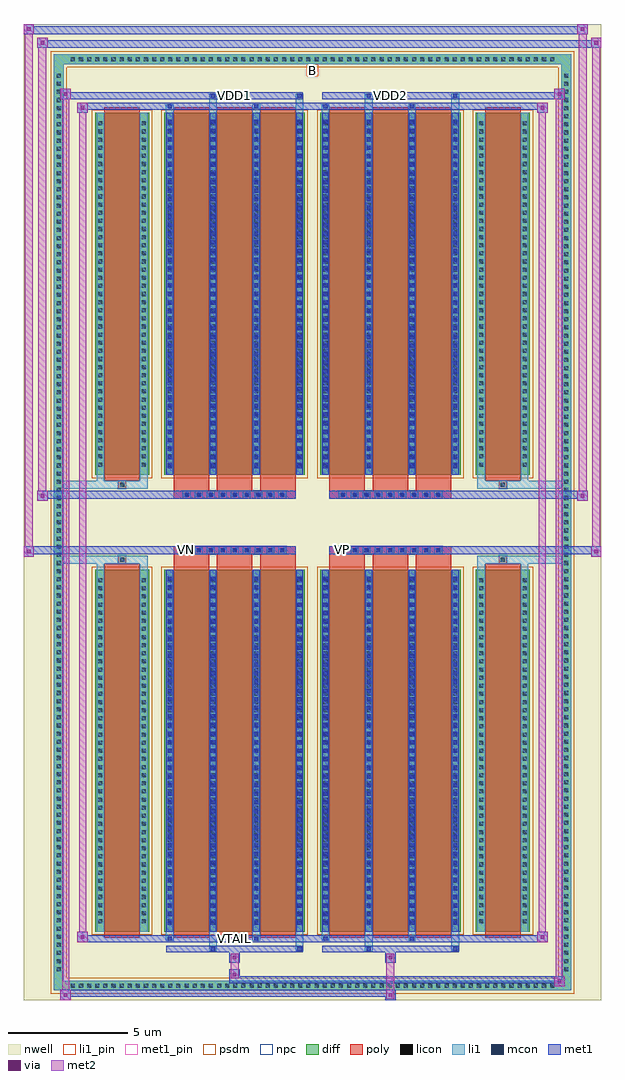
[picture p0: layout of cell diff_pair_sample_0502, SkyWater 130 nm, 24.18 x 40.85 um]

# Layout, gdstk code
import gdstk
lib = gdstk.Library(unit=1e-6, precision=5e-09)
def R(c, l, rs):  # rectangles x0, y0, x1, y1
    for r in rs: c.add(gdstk.rectangle(r[:2], r[2:], *l))
def A(c, l, x, y, w, h, nx, ny, dx, dy):  # array of equal rectangles
    R(c, l, [(x+i*dx, y+j*dy, x+i*dx+w, y+j*dy+h) for i in range(nx) for j in range(ny)])
def P(c, l, *ps):  # polygons
    for p in ps: c.add(gdstk.Polygon(p, *l))
nwell = (64, 20)
diff = (65, 20)
poly = (66, 20)
licon = (66, 44)
li1_pin = (67, 16)
li1 = (67, 20)
mcon = (67, 44)
met1_pin = (68, 16)
met1 = (68, 20)
via = (68, 44)
met2 = (69, 20)
psdm = (94, 20)
npc = (95, 20)

diff_pair_sample_0502 = lib.new_cell('diff_pair_sample_0502')
R(diff_pair_sample_0502, nwell, [(-12.09,-19.99,12.09,20.86), (-9.41,-18.18,-0.01,-0.8), (0.01,-18.18,9.41,-0.8), (-9.41,0.8,-0.01,18.18), (0.01,0.8,9.41,18.18)])
A(diff_pair_sample_0502, diff, -10.235, -19.59, 0.41, 0.41, 60, 2, 0.34, 38.77)
A(diff_pair_sample_0502, diff, -10.82, -18.905, 0.41, 0.41, 1, 111, 0, 0.34)
A(diff_pair_sample_0502, diff, 10.41, -18.905, 0.41, 0.41, 1, 111, 0, 0.34)
R(diff_pair_sample_0502, diff, [(-10.235,-19.59,10.235,-19.18), (-10.82,-18.905,-10.41,18.905), (10.41,-18.905,10.82,18.905), (-9.1,-17.135,-6.84,-1.985), (-6.2,-17.135,-0.32,-1.985), (0.32,-17.135,6.2,-1.985), (6.84,-17.135,9.1,-1.985), (-9.1,1.985,-6.84,17.135), (-6.2,1.985,-0.32,17.135), (0.32,1.985,6.2,17.135), (6.84,1.985,9.1,17.135), (-10.235,19.18,10.235,19.59)])
P(diff_pair_sample_0502, diff, [(10.82,19.59),(-10.82,19.59),(-10.82,-19.18),(-10.41,-19.18),(-10.41,19.18),(10.41,19.18),(10.41,-19.18),(-10.41,-19.18),(-10.82,-19.18),(-10.82,-19.59),(10.82,-19.59)])
A(diff_pair_sample_0502, poly, -5.81, -17.385, 1.48, 15.65, 3, 2, 1.81, 19.12)
A(diff_pair_sample_0502, poly, 0.71, -17.385, 1.48, 15.65, 3, 2, 1.81, 19.12)
A(diff_pair_sample_0502, poly, -5.81, -1.735, 1.48, 0.405, 3, 2, 1.81, 3.065)
A(diff_pair_sample_0502, poly, 0.71, -1.735, 1.48, 0.405, 3, 2, 1.81, 3.065)
A(diff_pair_sample_0502, poly, -5.425, -1.33, 0.33, 0.33, 9, 2, 0.5, 2.33)
A(diff_pair_sample_0502, poly, 1.095, -1.33, 0.33, 0.33, 9, 2, 0.5, 2.33)
R(diff_pair_sample_0502, poly, [(-8.71,-17.385,-7.23,-1.735), (7.23,-17.385,8.71,-1.735), (-8.135,-1.735,-7.805,-1.405), (-8.135,-1.735,-7.805,-1.405), (7.805,-1.735,8.135,-1.405), (7.805,-1.735,8.135,-1.405), (-5.81,-1.33,-0.71,-1), (0.71,-1.33,5.81,-1), (-5.81,1,-0.71,1.33), (0.71,1,5.81,1.33), (-8.135,1.405,-7.805,1.735), (-8.135,1.405,-7.805,1.735), (7.805,1.405,8.135,1.735), (7.805,1.405,8.135,1.735), (-8.71,1.735,-7.23,17.385), (7.23,1.735,8.71,17.385)])
A(diff_pair_sample_0502, licon, -10.115, -19.47, 0.17, 0.17, 60, 2, 0.34, 38.77)
A(diff_pair_sample_0502, licon, -10.7, -18.785, 0.17, 0.17, 1, 111, 0, 0.34)
A(diff_pair_sample_0502, licon, 10.53, -18.785, 0.17, 0.17, 1, 111, 0, 0.34)
A(diff_pair_sample_0502, licon, -8.96, -16.785, 0.17, 0.17, 1, 43, 0, 0.34)
A(diff_pair_sample_0502, licon, -7.15, -16.785, 0.17, 0.17, 1, 43, 0, 0.34)
A(diff_pair_sample_0502, licon, -6.06, -16.785, 0.17, 0.17, 4, 43, 1.81, 0.34)
A(diff_pair_sample_0502, licon, 0.46, -16.785, 0.17, 0.17, 4, 43, 1.81, 0.34)
A(diff_pair_sample_0502, licon, 6.98, -16.785, 0.17, 0.17, 1, 43, 0, 0.34)
A(diff_pair_sample_0502, licon, 8.79, -16.785, 0.17, 0.17, 1, 43, 0, 0.34)
A(diff_pair_sample_0502, licon, -5.345, -1.25, 0.17, 0.17, 9, 2, 0.5, 2.33)
A(diff_pair_sample_0502, licon, 1.175, -1.25, 0.17, 0.17, 9, 2, 0.5, 2.33)
A(diff_pair_sample_0502, licon, -8.96, 2.335, 0.17, 0.17, 1, 43, 0, 0.34)
A(diff_pair_sample_0502, licon, -7.15, 2.335, 0.17, 0.17, 1, 43, 0, 0.34)
A(diff_pair_sample_0502, licon, -6.06, 2.335, 0.17, 0.17, 4, 43, 1.81, 0.34)
A(diff_pair_sample_0502, licon, 0.46, 2.335, 0.17, 0.17, 4, 43, 1.81, 0.34)
A(diff_pair_sample_0502, licon, 6.98, 2.335, 0.17, 0.17, 1, 43, 0, 0.34)
A(diff_pair_sample_0502, licon, 8.79, 2.335, 0.17, 0.17, 1, 43, 0, 0.34)
R(diff_pair_sample_0502, licon, [(-8.055,-1.655,-7.885,-1.485), (7.885,-1.655,8.055,-1.485), (-8.055,1.485,-7.885,1.655), (7.885,1.485,8.055,1.655)])
R(diff_pair_sample_0502, li1_pin, [(-0.25,18.68,0.25,19.18)])
A(diff_pair_sample_0502, li1, -10.195, -19.55, 0.33, 0.33, 60, 2, 0.34, 38.77)
A(diff_pair_sample_0502, li1, -10.78, -18.865, 0.33, 0.33, 1, 111, 0, 0.34)
A(diff_pair_sample_0502, li1, 10.45, -18.865, 0.33, 0.33, 1, 111, 0, 0.34)
A(diff_pair_sample_0502, li1, -6.14, -17.135, 0.33, 15.15, 4, 2, 1.81, 19.12)
A(diff_pair_sample_0502, li1, 0.38, -17.135, 0.33, 15.15, 4, 2, 1.81, 19.12)
A(diff_pair_sample_0502, li1, -9.04, -16.865, 0.33, 0.33, 1, 43, 0, 0.34)
A(diff_pair_sample_0502, li1, -7.23, -16.865, 0.33, 0.33, 1, 43, 0, 0.34)
A(diff_pair_sample_0502, li1, -6.14, -16.865, 0.33, 0.33, 4, 43, 1.81, 0.34)
A(diff_pair_sample_0502, li1, 0.38, -16.865, 0.33, 0.33, 4, 43, 1.81, 0.34)
A(diff_pair_sample_0502, li1, 6.9, -16.865, 0.33, 0.33, 1, 43, 0, 0.34)
A(diff_pair_sample_0502, li1, 8.71, -16.865, 0.33, 0.33, 1, 43, 0, 0.34)
A(diff_pair_sample_0502, li1, -6.06, -16.845, 0.17, 0.17, 4, 41, 1.81, 0.36)
A(diff_pair_sample_0502, li1, -6.06, -16.845, 0.17, 14.57, 4, 2, 1.81, 19.12)
A(diff_pair_sample_0502, li1, 0.46, -16.845, 0.17, 0.17, 4, 41, 1.81, 0.36)
A(diff_pair_sample_0502, li1, 0.46, -16.845, 0.17, 14.57, 4, 2, 1.81, 19.12)
A(diff_pair_sample_0502, li1, -5.425, -1.33, 0.33, 0.33, 9, 2, 0.5, 2.33)
A(diff_pair_sample_0502, li1, 1.095, -1.33, 0.33, 0.33, 9, 2, 0.5, 2.33)
A(diff_pair_sample_0502, li1, -9.04, 2.255, 0.33, 0.33, 1, 43, 0, 0.34)
A(diff_pair_sample_0502, li1, -7.23, 2.255, 0.33, 0.33, 1, 43, 0, 0.34)
A(diff_pair_sample_0502, li1, -6.14, 2.255, 0.33, 0.33, 4, 43, 1.81, 0.34)
A(diff_pair_sample_0502, li1, 0.38, 2.255, 0.33, 0.33, 4, 43, 1.81, 0.34)
A(diff_pair_sample_0502, li1, 6.9, 2.255, 0.33, 0.33, 1, 43, 0, 0.34)
A(diff_pair_sample_0502, li1, 8.71, 2.255, 0.33, 0.33, 1, 43, 0, 0.34)
A(diff_pair_sample_0502, li1, -6.06, 2.275, 0.17, 0.17, 4, 41, 1.81, 0.36)
A(diff_pair_sample_0502, li1, 0.46, 2.275, 0.17, 0.17, 4, 41, 1.81, 0.36)
R(diff_pair_sample_0502, li1, [(-10.82,-19.59,-10.41,-19.18), (-10.82,-19.59,-10.41,-19.18), (-10.41,-19.59,10.41,-19.18), (10.41,-19.59,10.82,-19.18), (10.41,-19.59,10.82,-19.18), (-10.82,-19.18,-10.41,19.18), (10.41,-19.18,10.82,19.18), (-4.33,-17.94,-4,-17.135), (-4.25,-17.94,-4.08,-17.77), (-0.71,-17.94,-0.38,-17.135), (-0.63,-17.94,-0.46,-17.77), (2.19,-17.94,2.52,-17.135), (2.27,-17.94,2.44,-17.77), (5.81,-17.94,6.14,-17.135), (5.89,-17.94,6.06,-17.77), (-6.14,-17.51,-5.81,-17.135), (-6.06,-17.51,-5.89,-17.34), (-2.52,-17.51,-2.19,-17.135), (-2.44,-17.51,-2.27,-17.34), (0.38,-17.51,0.71,-17.135), (0.46,-17.51,0.63,-17.34), (4,-17.51,4.33,-17.135), (4.08,-17.51,4.25,-17.34), (-9.04,-17.135,-8.71,-1.985), (-7.23,-17.135,-6.9,-1.985), (6.9,-17.135,7.23,-1.985), (8.71,-17.135,9.04,-1.985), (-9.04,-1.985,-8.71,-1.405), (-7.23,-1.985,-6.9,-1.405), (6.9,-1.985,7.23,-1.405), (8.71,-1.985,9.04,-1.405), (-10.82,-1.735,-8.135,-1.405), (-9.04,-1.735,-8.135,-1.405), (-8.135,-1.735,-7.805,-1.405), (-7.805,-1.735,-6.9,-1.405), (6.9,-1.735,7.805,-1.405), (7.805,-1.735,8.135,-1.405), (7.805,-1.735,10.82,-1.405), (8.135,-1.735,9.04,-1.405), (-10.82,1.405,-8.135,1.735), (-9.04,1.405,-8.135,1.735), (-9.04,1.405,-8.71,1.985), (-8.135,1.405,-7.805,1.735), (-7.805,1.405,-6.9,1.735), (-7.23,1.405,-6.9,1.985), (6.9,1.405,7.805,1.735), (6.9,1.405,7.23,1.985), (7.805,1.405,8.135,1.735), (7.805,1.405,10.82,1.735), (8.135,1.405,9.04,1.735), (8.71,1.405,9.04,1.985), (-9.04,1.985,-8.71,17.135), (-7.23,1.985,-6.9,17.135), (6.9,1.985,7.23,17.135), (8.71,1.985,9.04,17.135), (-6.14,17.135,-5.81,17.51), (-4.33,17.135,-4,17.94), (-2.52,17.135,-2.19,17.51), (-0.71,17.135,-0.38,17.94), (0.38,17.135,0.71,17.51), (2.19,17.135,2.52,17.94), (4,17.135,4.33,17.51), (5.81,17.135,6.14,17.94), (-6.06,17.34,-5.89,17.51), (-2.44,17.34,-2.27,17.51), (0.46,17.34,0.63,17.51), (4.08,17.34,4.25,17.51), (-4.25,17.77,-4.08,17.94), (-0.63,17.77,-0.46,17.94), (2.27,17.77,2.44,17.94), (5.89,17.77,6.06,17.94), (-10.82,19.18,-10.41,19.59), (-10.82,19.18,-10.41,19.59), (-10.41,19.18,10.41,19.59), (10.41,19.18,10.82,19.59), (10.41,19.18,10.82,19.59)])
A(diff_pair_sample_0502, mcon, -6.06, -16.845, 0.17, 0.17, 4, 41, 1.81, 0.36)
A(diff_pair_sample_0502, mcon, 0.46, -16.845, 0.17, 0.17, 4, 41, 1.81, 0.36)
A(diff_pair_sample_0502, mcon, -5.345, -1.25, 0.17, 0.17, 9, 2, 0.5, 2.33)
A(diff_pair_sample_0502, mcon, 1.175, -1.25, 0.17, 0.17, 9, 2, 0.5, 2.33)
A(diff_pair_sample_0502, mcon, -6.06, 2.275, 0.17, 0.17, 4, 41, 1.81, 0.36)
A(diff_pair_sample_0502, mcon, 0.46, 2.275, 0.17, 0.17, 4, 41, 1.81, 0.36)
R(diff_pair_sample_0502, mcon, [(-4.25,-17.94,-4.08,-17.77), (-0.63,-17.94,-0.46,-17.77), (2.27,-17.94,2.44,-17.77), (5.89,-17.94,6.06,-17.77), (-6.06,-17.51,-5.89,-17.34), (-2.44,-17.51,-2.27,-17.34), (0.46,-17.51,0.63,-17.34), (4.08,-17.51,4.25,-17.34), (-6.06,17.34,-5.89,17.51), (-2.44,17.34,-2.27,17.51), (0.46,17.34,0.63,17.51), (4.08,17.34,4.25,17.51), (-4.25,17.77,-4.08,17.94), (-0.63,17.77,-0.46,17.94), (2.27,17.77,2.44,17.94), (5.89,17.77,6.06,17.94)])
R(diff_pair_sample_0502, met1_pin, [(-3.395,-17.55,-3.125,-17.28), (-5.395,-1.29,-5.125,-1.02), (1.125,-1.29,1.395,-1.02), (-3.395,17.73,-3.125,18), (3.125,17.73,3.395,18)])
A(diff_pair_sample_0502, met1, -6.12, -17.135, 0.29, 15.15, 4, 2, 1.81, 19.12)
A(diff_pair_sample_0502, met1, 0.4, -17.135, 0.29, 15.15, 4, 2, 1.81, 19.12)
A(diff_pair_sample_0502, met1, -6.12, -16.905, 0.29, 0.29, 4, 41, 1.81, 0.36)
A(diff_pair_sample_0502, met1, 0.4, -16.905, 0.29, 0.29, 4, 41, 1.81, 0.36)
A(diff_pair_sample_0502, met1, -5.405, -1.31, 0.29, 0.29, 9, 2, 0.5, 2.33)
A(diff_pair_sample_0502, met1, 1.115, -1.31, 0.29, 0.29, 9, 2, 0.5, 2.33)
A(diff_pair_sample_0502, met1, -6.12, 2.215, 0.29, 0.29, 4, 41, 1.81, 0.36)
A(diff_pair_sample_0502, met1, 0.4, 2.215, 0.29, 0.29, 4, 41, 1.81, 0.36)
R(diff_pair_sample_0502, met1, [(-10.55,-19.99,-10.12,-19.56), (3.045,-19.99,3.475,-19.56), (-10.55,-19.85,3.475,-19.56), (10.12,-19.42,10.55,-18.99), (-3.475,-19.28,10.55,-18.99), (-3.475,-19.14,-3.045,-18.71), (-3.475,-18.43,-3.045,-18), (3.045,-18.43,3.475,-18), (-6.12,-18,-0.4,-17.71), (-4.31,-18,-4.02,-17.71), (-0.69,-18,-0.4,-17.71), (0.4,-18,6.12,-17.71), (2.21,-18,2.5,-17.71), (5.83,-18,6.12,-17.71), (-9.84,-17.57,-9.41,-17.14), (-9.84,-17.57,-6.12,-17.28), (-6.12,-17.57,-5.83,-17.28), (-6.12,-17.57,-0.4,-17.28), (-2.5,-17.57,-2.21,-17.28), (-0.4,-17.57,0.4,-17.28), (0.4,-17.57,0.69,-17.28), (0.4,-17.57,6.12,-17.28), (4.02,-17.57,4.31,-17.28), (6.12,-17.57,9.84,-17.28), (9.41,-17.57,9.84,-17.14), (-12.09,-1.43,-11.66,-1), (11.66,-1.43,12.09,-1), (-12.09,-1.33,-0.71,-1), (-5.81,-1.33,-0.71,-1), (0.71,-1.33,5.81,-1), (0.71,-1.33,12.09,-1), (-11.52,0.9,-11.09,1.33), (11.09,0.9,11.52,1.33), (-11.52,1,-5.81,1.33), (-5.81,1,-0.71,1.33), (0.71,1,5.81,1.33), (5.81,1,11.52,1.33), (-9.84,17.14,-9.41,17.57), (9.41,17.14,9.84,17.57), (-9.84,17.28,-6.12,17.57), (-6.12,17.28,-5.83,17.57), (-6.12,17.28,-0.4,17.57), (-2.5,17.28,-2.21,17.57), (-0.4,17.28,0.4,17.57), (0.4,17.28,0.69,17.57), (0.4,17.28,6.12,17.57), (4.02,17.28,4.31,17.57), (6.12,17.28,9.84,17.57), (-10.55,17.71,-10.12,18.14), (-10.55,17.71,-6.12,18), (-6.12,17.71,-0.4,18), (-4.31,17.71,-4.02,18), (-0.69,17.71,-0.4,18), (0.4,17.71,6.12,18), (2.21,17.71,2.5,18), (5.83,17.71,6.12,18), (6.12,17.71,10.55,18), (10.12,17.71,10.55,18.14), (-11.52,19.86,-11.09,20.29), (-11.52,19.86,-9.41,20.19), (-9.41,19.86,9.41,20.19), (9.41,19.86,12.09,20.19), (11.66,19.86,12.09,20.29), (-12.09,20.43,-11.66,20.86), (-12.09,20.43,-9.41,20.76), (-9.41,20.43,9.41,20.76), (9.41,20.43,11.52,20.76), (11.09,20.43,11.52,20.86)])
R(diff_pair_sample_0502, via, [(-10.41,-19.85,-10.26,-19.7), (3.185,-19.85,3.335,-19.7), (10.26,-19.28,10.41,-19.13), (-3.335,-19,-3.185,-18.85), (-3.335,-18.29,-3.185,-18.14), (3.185,-18.29,3.335,-18.14), (-9.7,-17.43,-9.55,-17.28), (9.55,-17.43,9.7,-17.28), (-11.95,-1.29,-11.8,-1.14), (11.8,-1.29,11.95,-1.14), (-11.38,1.04,-11.23,1.19), (11.23,1.04,11.38,1.19), (-9.7,17.28,-9.55,17.43), (9.55,17.28,9.7,17.43), (-10.41,17.85,-10.26,18), (10.26,17.85,10.41,18), (-11.38,20,-11.23,20.15), (11.8,20,11.95,20.15), (-11.95,20.57,-11.8,20.72), (11.23,20.57,11.38,20.72)])
R(diff_pair_sample_0502, met2, [(-10.55,-19.99,-10.12,-19.56), (-10.48,-19.99,-10.19,18.14), (-10.19,-19.99,-10.12,-19.56), (-10.5,-19.94,-10.17,-19.61), (3.095,-19.94,3.425,-19.61), (3.095,-19.61,3.425,-18.38), (10.12,-19.42,10.55,-18.99), (10.19,-19.42,10.48,18.14), (10.48,-19.42,10.55,-18.99), (10.17,-19.37,10.5,-19.04), (-3.425,-19.09,-3.095,-18.76), (-3.425,-18.76,-3.095,-18.38), (-3.425,-18.38,-3.095,-18.05), (3.095,-18.38,3.425,-18.05), (-9.84,-17.57,-9.41,-17.14), (-9.77,-17.57,-9.48,17.57), (-9.48,-17.57,-9.41,-17.14), (9.41,-17.57,9.84,-17.14), (9.48,-17.57,9.77,17.57), (9.77,-17.57,9.84,-17.14), (-9.79,-17.52,-9.46,-17.19), (9.46,-17.52,9.79,-17.19), (-12.09,-1.43,-11.66,-1), (-12.04,-1.43,-11.71,20.86), (-11.71,-1.43,-11.66,-1), (11.66,-1.43,12.09,-1), (11.71,-1.43,12.04,20.29), (12.04,-1.43,12.09,-1), (-12.04,-1.38,-11.71,-1.05), (11.71,-1.38,12.04,-1.05), (-11.52,0.9,-11.09,1.33), (-11.47,0.9,-11.14,20.29), (-11.14,0.9,-11.09,1.33), (11.09,0.9,11.52,1.33), (11.14,0.9,11.47,20.86), (11.47,0.9,11.52,1.33), (-11.47,0.95,-11.14,1.28), (11.14,0.95,11.47,1.28), (-9.84,17.14,-9.41,17.57), (-9.48,17.14,-9.41,17.57), (9.41,17.14,9.84,17.57), (9.77,17.14,9.84,17.57), (-9.79,17.19,-9.46,17.52), (9.46,17.19,9.79,17.52), (-10.55,17.71,-10.12,18.14), (-10.19,17.71,-10.12,18.14), (10.12,17.71,10.55,18.14), (10.48,17.71,10.55,18.14), (-10.5,17.76,-10.17,18.09), (10.17,17.76,10.5,18.09), (-11.52,19.86,-11.09,20.29), (-11.14,19.86,-11.09,20.29), (11.66,19.86,12.09,20.29), (12.04,19.86,12.09,20.29), (-11.47,19.91,-11.14,20.24), (11.71,19.91,12.04,20.24), (-12.09,20.43,-11.66,20.86), (-11.71,20.43,-11.66,20.86), (11.09,20.43,11.52,20.86), (11.47,20.43,11.52,20.86), (-12.04,20.48,-11.71,20.81), (11.14,20.48,11.47,20.81)])
R(diff_pair_sample_0502, psdm, [(-9.23,-17.265,-6.71,-1.855), (-6.33,-17.265,-0.19,-1.855), (0.19,-17.265,6.33,-1.855), (6.71,-17.265,9.23,-1.855), (-9.23,1.855,-6.71,17.265), (-6.33,1.855,-0.19,17.265), (0.19,1.855,6.33,17.265), (6.71,1.855,9.23,17.265)])
P(diff_pair_sample_0502, psdm, [(10.95,19.72),(-10.95,19.72),(-10.95,-19.05),(-10.28,-19.05),(-10.28,19.05),(10.28,19.05),(10.28,-19.05),(-10.28,-19.05),(-10.95,-19.05),(-10.95,-19.72),(10.95,-19.72)])
A(diff_pair_sample_0502, npc, -5.445, -1.35, 0.37, 0.37, 9, 2, 0.5, 2.33)
A(diff_pair_sample_0502, npc, 1.075, -1.35, 0.37, 0.37, 9, 2, 0.5, 2.33)
R(diff_pair_sample_0502, npc, [(-8.155,-1.755,-7.785,-1.385), (7.785,-1.755,8.155,-1.385), (-5.445,-1.35,-4.575,-0.98), (-5.445,-1.35,-4.575,-0.98), (-4.945,-1.35,-4.075,-0.98), (-4.945,-1.35,-4.075,-0.98), (-4.445,-1.35,-3.575,-0.98), (-4.445,-1.35,-3.575,-0.98), (-3.945,-1.35,-3.075,-0.98), (-3.945,-1.35,-3.075,-0.98), (-3.445,-1.35,-2.575,-0.98), (-3.445,-1.35,-2.575,-0.98), (-2.945,-1.35,-2.075,-0.98), (-2.945,-1.35,-2.075,-0.98), (-2.445,-1.35,-1.575,-0.98), (-2.445,-1.35,-1.575,-0.98), (-1.945,-1.35,-1.075,-0.98), (-1.945,-1.35,-1.075,-0.98), (1.075,-1.35,1.945,-0.98), (1.075,-1.35,1.945,-0.98), (1.575,-1.35,2.445,-0.98), (1.575,-1.35,2.445,-0.98), (2.075,-1.35,2.945,-0.98), (2.075,-1.35,2.945,-0.98), (2.575,-1.35,3.445,-0.98), (2.575,-1.35,3.445,-0.98), (3.075,-1.35,3.945,-0.98), (3.075,-1.35,3.945,-0.98), (3.575,-1.35,4.445,-0.98), (3.575,-1.35,4.445,-0.98), (4.075,-1.35,4.945,-0.98), (4.075,-1.35,4.945,-0.98), (4.575,-1.35,5.445,-0.98), (4.575,-1.35,5.445,-0.98), (-5.445,0.98,-4.575,1.35), (-5.445,0.98,-4.575,1.35), (-4.945,0.98,-4.075,1.35), (-4.945,0.98,-4.075,1.35), (-4.445,0.98,-3.575,1.35), (-4.445,0.98,-3.575,1.35), (-3.945,0.98,-3.075,1.35), (-3.945,0.98,-3.075,1.35), (-3.445,0.98,-2.575,1.35), (-3.445,0.98,-2.575,1.35), (-2.945,0.98,-2.075,1.35), (-2.945,0.98,-2.075,1.35), (-2.445,0.98,-1.575,1.35), (-2.445,0.98,-1.575,1.35), (-1.945,0.98,-1.075,1.35), (-1.945,0.98,-1.075,1.35), (1.075,0.98,1.945,1.35), (1.075,0.98,1.945,1.35), (1.575,0.98,2.445,1.35), (1.575,0.98,2.445,1.35), (2.075,0.98,2.945,1.35), (2.075,0.98,2.945,1.35), (2.575,0.98,3.445,1.35), (2.575,0.98,3.445,1.35), (3.075,0.98,3.945,1.35), (3.075,0.98,3.945,1.35), (3.575,0.98,4.445,1.35), (3.575,0.98,4.445,1.35), (4.075,0.98,4.945,1.35), (4.075,0.98,4.945,1.35), (4.575,0.98,5.445,1.35), (4.575,0.98,5.445,1.35), (-8.155,1.385,-7.785,1.755), (7.785,1.385,8.155,1.755)])
diff_pair_sample_0502.add(gdstk.Label('VTAIL', (-3.26,-17.415), layer=68, texttype=5))
diff_pair_sample_0502.add(gdstk.Label('VN', (-5.26,-1.155), layer=68, texttype=5))
diff_pair_sample_0502.add(gdstk.Label('VP', (1.26,-1.155), layer=68, texttype=5))
diff_pair_sample_0502.add(gdstk.Label('B', (0,18.93), layer=67, texttype=5))
diff_pair_sample_0502.add(gdstk.Label('VDD2', (3.26,17.865), layer=68, texttype=5))
diff_pair_sample_0502.add(gdstk.Label('VDD1', (-3.26,17.865), layer=68, texttype=5))

lib.write_gds('diff_pair_sample_0502.gds')
